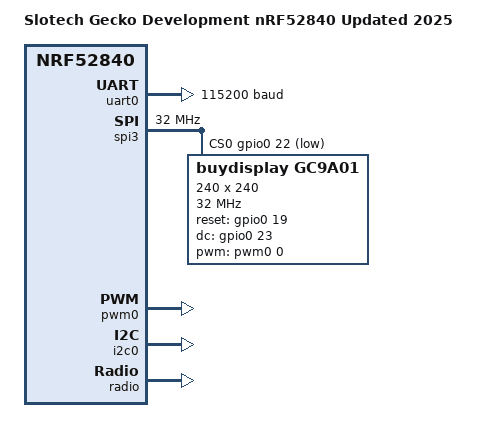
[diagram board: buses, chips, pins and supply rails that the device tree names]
/dts-v1/;
#include <nordic/nrf52840_qfaa.dtsi>
#include "gecko_development-pinctrl.dtsi"

/ {
	model = "Slotech Gecko Development nRF52840 Updated 2025";
	compatible = "Slotech,gecko-development";

	chosen {
		zephyr,display = &gc9a01;
		zephyr,console = &uart0;
		zephyr,sram = &sram0;
		zephyr,flash = &flash0;
		zephyr,code-partition = &slot0_partition;
	};

};

&uart0 {
	compatible = "nordic,nrf-uarte";
	status = "okay";
	current-speed = <115200>;
	// hw-flow-control;
	pinctrl-0 = <&uart0_default>;
	pinctrl-1 = <&uart0_sleep>;
	pinctrl-names = "default", "sleep";
};

&spi3 {
	status = "okay";
	compatible = "nordic,nrf-spim";
	pinctrl-0 = <&spi3_default>;
	pinctrl-1 = <&spi3_sleep>;
	pinctrl-names = "default", "sleep";
	clock-frequency = <DT_FREQ_M(32)>;
	cs-gpios = <&gpio0 22 GPIO_ACTIVE_LOW>;
				// <&gpio0 12 GPIO_ACTIVE_LOW>; // Figure out later

	gc9a01: gc9a01@0 {
		compatible = "buydisplay,gc9a01";
		status = "okay";
		spi-max-frequency = <DT_FREQ_M(32)>;
		reg = <0>;
		width = <240>;
		height = <240>;
		pwms = <&pwm0 0 PWM_USEC(500) PWM_POLARITY_NORMAL>;
		reset-gpios = <&gpio0 19 GPIO_ACTIVE_HIGH>;
		dc-gpios = <&gpio0 23 GPIO_ACTIVE_HIGH>;
	};

	// at25sf128: at25sf128a@1 {
	// 	compatible = "jedec,spi-nor";
	// 	size = <0x8000000>;
	// 	spi-max-frequency = <32000000>;
	// 	jedec-id = [1f 89 01];
	// 	status = "okay";
	// };
};

&pwm0 {
	status = "okay";
	pinctrl-0 = <&pwm0_default>;
	pinctrl-1 = <&pwm0_sleep>;
	pinctrl-names = "default", "sleep";
};

&i2c0 {
	status = "okay";
	pinctrl-0 = <&i2c0_default>;
	pinctrl-1 = <&i2c0_sleep>;
	pinctrl-names = "default", "sleep";
};

&gpio0 {
	status = "okay";
};

&gpio1 {
	status = "okay";
};

&gpiote {
    status = "okay";
};

&radio {
	status = "okay";
};

&flash0 {
	partitions {
		compatible = "fixed-partitions";
		#address-cells = <1>;
		#size-cells = <1>;

		boot_partition: partition@0 {
			label = "mcuboot";
			reg = <0x0 0xc000>;
		};
		slot0_partition: partition@c000 {
			label = "image-0";
			reg = <0xc000 0x72000>;
		};
		slot1_partition: partition@7e000 {
			label = "image-1";
			reg = <0x7e000 0x72000>;
		};
		scratch_partition: partition@f0000 {
			label = "image-scratch";
			reg = <0xf0000 0xa000>;
		};
		storage_partition: partition@fa000 {
			label = "storage";
			reg = <0xfa000 0x6000>;
		};
	};
};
